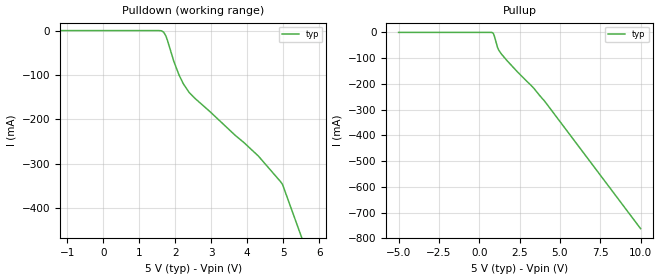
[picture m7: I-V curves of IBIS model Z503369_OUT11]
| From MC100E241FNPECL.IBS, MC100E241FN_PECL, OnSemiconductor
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| (C) COPYRIGHT 1993-2000
| MENTOR GRAPHICS CORPORATION
| ICX STANDARD LIBRARY, ICX PROJECT MODELING,
| ICX CUSTOM MODELING, ICX VENDOR MODEL
| ALL RIGHTS RESERVED.
| THE FOLLOWING ARE TRADEMARKS OR SERVICE MARKS OF
| MENTOR GRAPHICS CORPORATION:ICX (R), ICX STANDARD
| LIBRARY(R), ICX PROJECT MODELING(R), ICX CUSTOM
| MODELING(R), qualityIBIS(TM), MODELVIEWER(TM),
| AND MODELEDITOR(TM)
| ALL COPIES OF SOFTWARE, INCLUDING BUT NOT LIMITED TO
| ANY MODIFICATIONS, ENHANCEMENTS OR DERIVATIVE WORKS,
| MUST CONTAIN ALL MENTOR GRAPHICS CORPORATION'S
| NOTICES AND LEGENDS, INCLUDING THOSE EMBEDDED IN
| SOFTWARE AND THOSE AFFIXED TO SOFTWARE MEDIUM
| AND CONTAINER, AS RECEIVED FROM MENTOR GRAPHICS
| CORPORATION.
| Model Application Version 1.89 2/18/99.
[Model] Z503369_OUT11
Model_type Output_ECL
Vref=3.000V
Rref=50.00ohms
Cref=0.000F
Vmeas=3.677V
C_comp 8.000pF NA NA
| variable typ   min   max
[Voltage Range] 5.000V NA NA
[POWER Clamp Reference] 5.000V NA NA
[Pullup Reference] 5.000V NA NA
[Pulldown Reference] 5.000V NA NA
[GND Clamp Reference] 0.000V NA NA
[GND Clamp]
-5V       0A         NA         NA
10V       0A         NA         NA
[Pulldown]
-5V       0A         NA         NA
1.616V    -600uA     NA         NA
1.676V    -3.4mA     NA         NA
1.737V    -11.7mA    NA         NA
1.778V    -20.8mA    NA         NA
1.96V     -69.4mA    NA         NA
2.102V    -99.7mA    NA         NA
2.224V    -120mA     NA         NA
2.386V    -139.6mA   NA         NA
4.312V    -283.2mA   NA         NA
4.981V    -346.9mA   NA         NA
10V       -1.476A    NA         NA
[Pullup]
-5V       0A         NA         NA
846mV     -2.2mA     NA         NA
927mV     -12.4mA    NA         NA
1.129V    -57.7mA    NA         NA
1.21V     -69.2mA    NA         NA
1.373V    -84mA      NA         NA
2.366V    -153.3mA   NA         NA
3.379V    -216.8mA   NA         NA
4.048V    -266.8mA   NA         NA
10V       -762.4mA   NA         NA
[POWER Clamp]
-5V       0A         NA         NA
10V       0A         NA         NA
[Ramp]
| variable typ min max
dV/dt_r 250.4m/535.5p NA NA
dV/dt_f 250.4m/333.9p NA NA
R_load = 50.00Ohms
